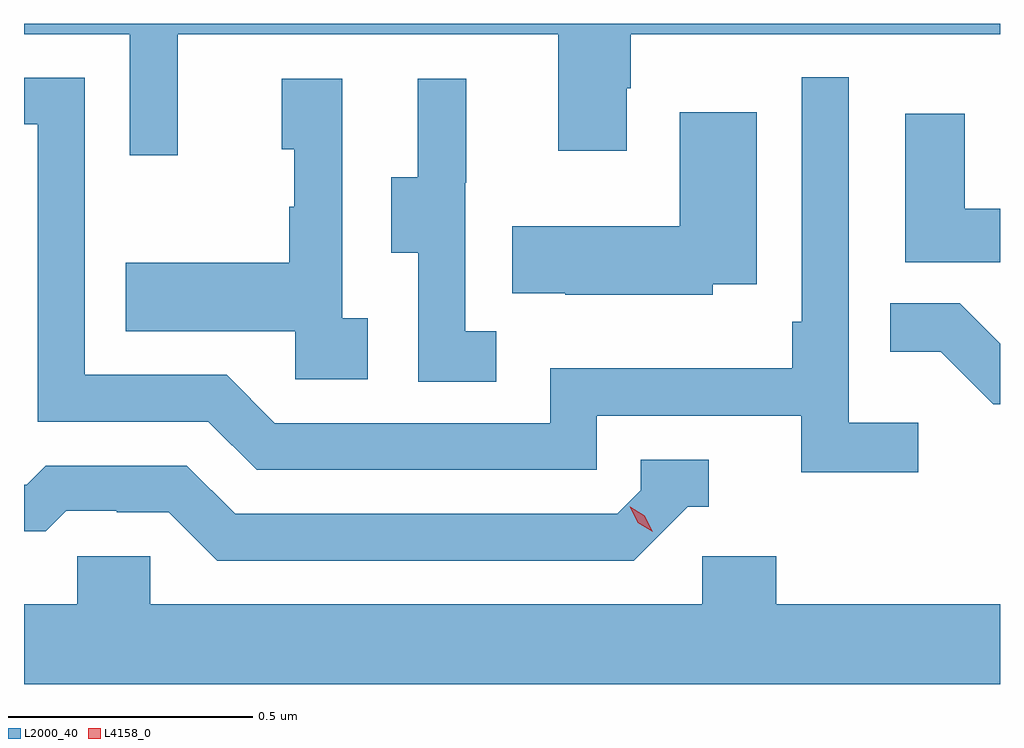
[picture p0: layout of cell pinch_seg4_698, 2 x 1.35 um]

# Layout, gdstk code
import gdstk
lib = gdstk.Library(unit=1e-6, precision=1e-09)
def P(c, l, *ps):  # polygons
    for p in ps: c.add(gdstk.Polygon(p, *l))
L2000_40 = (2000, 40)
L4158_0 = (4158, 0)

pinch_seg4_698 = lib.new_cell('pinch_seg4_698')
P(pinch_seg4_698, L2000_40, [(1139.117,768.848),(1139.897,768.848),(1139.897,768.609),(1140.037,768.609),(1140.037,768.737),(1140.045,768.737),(1140.045,768.848),(1140.802,768.848),(1140.802,768.869),(1138.802,768.869),(1138.802,768.848),(1139.019,768.848),(1139.019,768.6),(1139.117,768.6)],
  [(1140.634,768.052),(1140.492,768.052),(1140.492,768.76),(1140.396,768.76),(1140.396,768.259),(1140.376,768.259),(1140.376,768.163),(1139.88,768.163),(1139.88,768.051),(1139.316,768.051),(1139.217,768.15),(1138.926,768.15),(1138.926,768.759),(1138.802,768.759),(1138.802,768.663),(1138.83,768.663),(1138.83,768.054),(1139.18,768.054),(1139.279,767.955),(1139.976,767.955),(1139.976,768.066),(1140.395,768.066),(1140.395,767.95),(1140.634,767.95)],
  [(1139.77,768.239),(1139.706,768.239),(1139.706,768.543),(1139.708,768.543),(1139.708,768.757),(1139.609,768.757),(1139.609,768.555),(1139.555,768.555),(1139.555,768.4),(1139.61,768.4),(1139.61,768.136),(1139.77,768.136)],
  [(1139.506,768.266),(1139.454,768.266),(1139.454,768.757),(1139.33,768.757),(1139.33,768.612),(1139.356,768.612),(1139.356,768.494),(1139.346,768.494),(1139.346,768.379),(1139.011,768.379),(1139.011,768.239),(1139.358,768.239),(1139.358,768.141),(1139.506,768.141)],
  [(1140.213,768.335),(1140.304,768.335),(1140.304,768.688),(1140.146,768.688),(1140.146,768.454),(1139.803,768.454),(1139.803,768.317),(1139.911,768.317),(1139.911,768.314),(1140.213,768.314)],
  [(1140.802,768.49),(1140.73,768.49),(1140.73,768.685),(1140.608,768.685),(1140.608,768.381),(1140.802,768.381)],
  [(1140.802,768.214),(1140.72,768.296),(1140.577,768.296),(1140.577,768.197),(1140.681,768.197),(1140.788,768.09),(1140.802,768.09)],
  [(1140.162,767.88),(1140.205,767.88),(1140.205,767.976),(1140.066,767.976),(1140.066,767.913),(1140.018,767.865),(1139.235,767.865),(1139.136,767.964),(1138.847,767.964),(1138.808,767.925),(1138.802,767.925),(1138.802,767.829),(1138.847,767.829),(1138.889,767.871),(1138.992,767.871),(1138.992,767.868),(1139.099,767.868),(1139.198,767.769),(1140.051,767.769)],
  [(1140.802,767.68),(1140.344,767.68),(1140.344,767.778),(1140.192,767.778),(1140.192,767.68),(1139.061,767.68),(1139.061,767.778),(1138.911,767.778),(1138.911,767.68),(1138.802,767.68),(1138.802,767.516),(1140.802,767.516)])
P(pinch_seg4_698, L4158_0, [(1140.09,767.828),(1140.06,767.847),(1140.043,767.88),(1140.043,767.88),(1140.044,767.88),(1140.074,767.861),(1140.09,767.828),(1140.09,767.828)])

lib.write_gds('pinch_seg4_698.gds')
